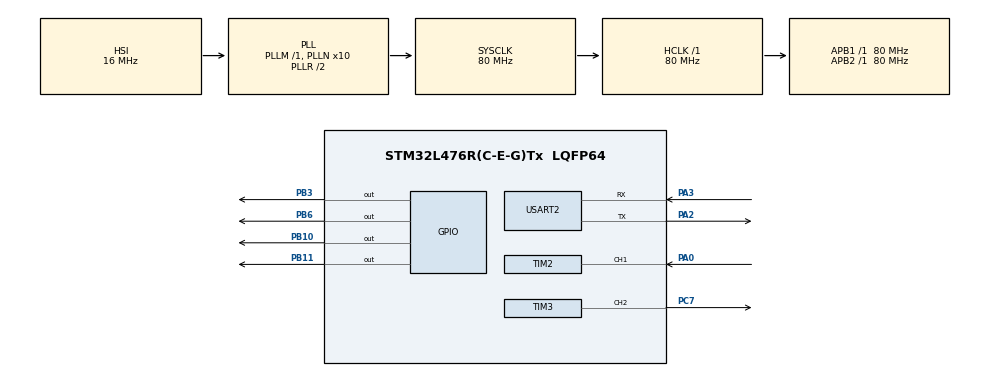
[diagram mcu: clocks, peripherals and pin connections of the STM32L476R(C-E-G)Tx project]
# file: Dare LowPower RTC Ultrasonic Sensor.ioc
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Mcu.Family=STM32L4
Mcu.Name=STM32L476R(C-E-G)Tx
Mcu.Package=LQFP64
NVIC.PriorityGroup=NVIC_PRIORITYGROUP_4
NVIC.RTC_WKUP_IRQn=true\:0\:0\:false\:false\:true\:true\:true\:true
NVIC.TIM2_IRQn=true\:0\:0\:false\:false\:true\:true\:true\:true
PA0.Signal=S_TIM2_CH1
PA2.Mode=Asynchronous
PA2.Signal=USART2_TX
PA3.Mode=Asynchronous
PA3.Signal=USART2_RX
PB10.Signal=GPIO_Output
PB11.Signal=GPIO_Output
PB3\ (JTDO-TRACESWO).Signal=GPIO_Output
PB6.Signal=GPIO_Output
PC7.Signal=S_TIM3_CH2
PH0-OSC_IN\ (PH0).Mode=HSE-External-Oscillator
PH0-OSC_IN\ (PH0).Signal=RCC_OSC_IN
PH1-OSC_OUT\ (PH1).Mode=HSE-External-Oscillator
PH1-OSC_OUT\ (PH1).Signal=RCC_OSC_OUT
ProjectManager.HeapSize=0x200
ProjectManager.StackSize=0x400
ProjectManager.TargetToolchain=STM32CubeIDE
RCC.ADCFreq_Value=64000000
RCC.AHBFreq_Value=80000000
RCC.APB1Freq_Value=80000000
RCC.APB1TimFreq_Value=80000000
RCC.APB2Freq_Value=80000000
RCC.APB2TimFreq_Value=80000000
RCC.CortexFreq_Value=80000000
RCC.HCLKFreq_Value=80000000
RCC.HSE_VALUE=8000000
RCC.HSI_VALUE=16000000
RCC.MSI_VALUE=4000000
RCC.PLLN=10
RCC.PLLSourceVirtual=RCC_PLLSOURCE_HSI
RCC.PREFETCH_ENABLE=1
RCC.SYSCLKFreq_VALUE=80000000
RCC.SYSCLKSource=RCC_SYSCLKSOURCE_PLLCLK
RCC.USBFreq_Value=64000000
RCC.VCOOutputFreq_Value=160000000
SH.S_TIM2_CH1.0=TIM2_CH1,Input_Capture1_from_TI1
SH.S_TIM3_CH2.0=TIM3_CH2,PWM Generation2 CH2
TIM2.Channel-Input_Capture1_from_TI1=TIM_CHANNEL_1
TIM3.Channel-PWM\ Generation2\ CH2=TIM_CHANNEL_2
TIM3.Prescaler=79
USART2.VirtualMode-Asynchronous=VM_ASYNC
VP_RTC_VS_RTC_Activate.Mode=RTC_Enabled
VP_RTC_VS_RTC_WakeUp_intern.Mode=WakeUp
VP_TIM2_VS_ClockSourceINT.Mode=Internal
VP_TIM3_VS_ClockSourceINT.Mode=Internal
VP_TIM6_VS_ClockSourceINT.Mode=Enable_Timer
board=NUCLEO-L476RG

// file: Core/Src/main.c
/* USER CODE BEGIN Header */
/**
 ******************************************************************************
 * @file           : main.c
 * @brief          : Main program body
 ******************************************************************************
 * @attention
 *
 * Copyright (c) 2026 STMicroelectronics.
 * All rights reserved.
 *
 * This software is licensed under terms that can be found in the LICENSE file
 * in the root directory of this software component.
 * If no LICENSE file comes with this software, it is provided AS-IS.
 *
 ******************************************************************************
 */
/* USER CODE END Header */
#include "main.h"

/* USER CODE BEGIN Includes */

#include <stdio.h>

/* USER CODE END Includes */

RTC_HandleTypeDef hrtc;

TIM_HandleTypeDef htim2;
TIM_HandleTypeDef htim3;
TIM_HandleTypeDef htim6;

UART_HandleTypeDef huart2;

/* USER CODE BEGIN PV */

uint8_t sleep_data[] = "I am going to sleep\n\r";

uint8_t wake_data[] = "I have just woken\n\r";

uint32_t IC_Value1 = 0;

uint32_t IC_Value2 = 0;

uint32_t time = 0;

float distance = 0;

float duty = 0;

volatile uint8_t measurementReady = 0;

volatile uint8_t firstEdgeCaptured = 0;

uint8_t motor_state = 0;

char msg[64];

uint32_t last_time = 0;

uint32_t now = 0;

uint32_t execution_time = 0;

/* USER CODE END PV */

void SystemClock_Config(void);
static void MX_GPIO_Init(void);
static void MX_USART2_UART_Init(void);
static void MX_RTC_Init(void);
static void MX_TIM2_Init(void);
static void MX_TIM3_Init(void);
static void MX_TIM6_Init(void);
/* USER CODE BEGIN PFP */

void Delay_us(uint16_t us);

/* USER CODE END PFP */

int main(void) {

	/* MCU Configuration--------------------------------------------------------*/

	/* Reset of all peripherals, Initializes the Flash interface and the Systick. */
	HAL_Init();

	/* Configure the system clock */
	SystemClock_Config();

	/* Initialize all configured peripherals */
	MX_GPIO_Init();
	MX_USART2_UART_Init();
	MX_RTC_Init();
	MX_TIM2_Init();
	MX_TIM3_Init();
	MX_TIM6_Init();
	/* USER CODE BEGIN 2 */

	HAL_RTCEx_DeactivateWakeUpTimer(&hrtc);

	HAL_RTCEx_SetWakeUpTimer_IT(&hrtc, 6000, RTC_WAKEUPCLOCK_RTCCLK_DIV16);

	/* USER CODE END 2 */

	/* Infinite loop */
	while (1) {

		/* USER CODE BEGIN 3 */

		HAL_UART_Transmit(&huart2, sleep_data, sizeof(sleep_data),
				HAL_MAX_DELAY);

		HAL_SuspendTick();

		HAL_PWR_EnterSTOPMode(PWR_LOWPOWERREGULATOR_ON, PWR_STOPENTRY_WFI);

		HAL_ResumeTick();

		SystemClock_Config();

//	  HAL_TIM_Base_Start(&htim6);

		last_time = HAL_GetTick();

		while (1) { // I greatly appreciate for this second while loop - simplifies things completely!

			HAL_UART_Transmit(&huart2, wake_data, sizeof(wake_data), HAL_MAX_DELAY);

			HAL_TIM_Base_Start(&htim6);

			HAL_TIM_IC_Start_IT(&htim2, TIM_CHANNEL_1);

			HAL_TIM_PWM_Start(&htim3, TIM_CHANNEL_2);

			HAL_GPIO_WritePin(GPIOB, GPIO_PIN_3, GPIO_PIN_RESET);
			Delay_us(2);

			HAL_GPIO_WritePin(GPIOB, GPIO_PIN_3, GPIO_PIN_SET);
			Delay_us(10);

			HAL_GPIO_WritePin(GPIOB, GPIO_PIN_3, GPIO_PIN_RESET);

			while (measurementReady == 0)
				;

			if (measurementReady) {

				measurementReady = 0;

				time = IC_Value2 - IC_Value1;

				distance = (time * 0.034) / 2;

				if (distance < 30) {

					int len = snprintf(msg, sizeof(msg),
							"The distance is : %.2f\n\r", distance);

					HAL_UART_Transmit(&huart2, (uint8_t*) msg, len,
							HAL_MAX_DELAY);

					motor_state = 1;

				}

				else {
					motor_state = 0;

				}

				if (motor_state) {

					duty = ((163 - (4.4 * distance)) * 999) / 163;

					__HAL_TIM_SET_COMPARE(&htim3, TIM_CHANNEL_2, duty);

					HAL_GPIO_WritePin(GPIOB, GPIO_PIN_10, GPIO_PIN_SET);

					HAL_GPIO_WritePin(GPIOB, GPIO_PIN_11, GPIO_PIN_RESET);
				}

				else {
					HAL_GPIO_WritePin(GPIOB, GPIO_PIN_10, GPIO_PIN_RESET);

					HAL_GPIO_WritePin(GPIOB, GPIO_PIN_11, GPIO_PIN_RESET);

					break; //Leave the active loop
				}
			}

		}

		now = HAL_GetTick();

		execution_time = now - last_time;

		char msg[64];

		int len = snprintf(msg, sizeof(msg), "Execution time is : %lu\n\r", execution_time);

		HAL_UART_Transmit(&huart2, (uint8_t *)msg, len, HAL_MAX_DELAY);

	}
	/* USER CODE END 3 */
}

void SystemClock_Config(void) {
	RCC_OscInitTypeDef RCC_OscInitStruct = { 0 };
	RCC_ClkInitTypeDef RCC_ClkInitStruct = { 0 };

	/** Configure the main internal regulator output voltage
	 */
	if (HAL_PWREx_ControlVoltageScaling(PWR_REGULATOR_VOLTAGE_SCALE1)
			!= HAL_OK) {
		Error_Handler();
	}

	/** Initializes the RCC Oscillators according to the specified parameters
	 * in the RCC_OscInitTypeDef structure.
	 */
	RCC_OscInitStruct.OscillatorType = RCC_OSCILLATORTYPE_HSI
			| RCC_OSCILLATORTYPE_LSI;
	RCC_OscInitStruct.HSIState = RCC_HSI_ON;
	RCC_OscInitStruct.HSICalibrationValue = RCC_HSICALIBRATION_DEFAULT;
	RCC_OscInitStruct.LSIState = RCC_LSI_ON;
	RCC_OscInitStruct.PLL.PLLState = RCC_PLL_ON;
	RCC_OscInitStruct.PLL.PLLSource = RCC_PLLSOURCE_HSI;
	RCC_OscInitStruct.PLL.PLLM = 1;
	RCC_OscInitStruct.PLL.PLLN = 10;
	RCC_OscInitStruct.PLL.PLLP = RCC_PLLP_DIV7;
	RCC_OscInitStruct.PLL.PLLQ = RCC_PLLQ_DIV2;
	RCC_OscInitStruct.PLL.PLLR = RCC_PLLR_DIV2;
	if (HAL_RCC_OscConfig(&RCC_OscInitStruct) != HAL_OK) {
		Error_Handler();
	}

	/** Initializes the CPU, AHB and APB buses clocks
	 */
	RCC_ClkInitStruct.ClockType = RCC_CLOCKTYPE_HCLK | RCC_CLOCKTYPE_SYSCLK
			| RCC_CLOCKTYPE_PCLK1 | RCC_CLOCKTYPE_PCLK2;
	RCC_ClkInitStruct.SYSCLKSource = RCC_SYSCLKSOURCE_PLLCLK;
	RCC_ClkInitStruct.AHBCLKDivider = RCC_SYSCLK_DIV1;
	RCC_ClkInitStruct.APB1CLKDivider = RCC_HCLK_DIV1;
	RCC_ClkInitStruct.APB2CLKDivider = RCC_HCLK_DIV1;

	if (HAL_RCC_ClockConfig(&RCC_ClkInitStruct, FLASH_LATENCY_4) != HAL_OK) {
		Error_Handler();
	}
}

static void MX_RTC_Init(void) {

	/** Initialize RTC Only
	 */
	hrtc.Instance = RTC;
	hrtc.Init.HourFormat = RTC_HOURFORMAT_24;
	hrtc.Init.AsynchPrediv = 127;
	hrtc.Init.SynchPrediv = 255;
	hrtc.Init.OutPut = RTC_OUTPUT_DISABLE;
	hrtc.Init.OutPutRemap = RTC_OUTPUT_REMAP_NONE;
	hrtc.Init.OutPutPolarity = RTC_OUTPUT_POLARITY_HIGH;
	hrtc.Init.OutPutType = RTC_OUTPUT_TYPE_OPENDRAIN;
	if (HAL_RTC_Init(&hrtc) != HAL_OK) {
		Error_Handler();
	}

}

static void MX_TIM2_Init(void) {

	TIM_ClockConfigTypeDef sClockSourceConfig = { 0 };
	TIM_MasterConfigTypeDef sMasterConfig = { 0 };
	TIM_IC_InitTypeDef sConfigIC = { 0 };

	htim2.Instance = TIM2;
	htim2.Init.Prescaler = 79;
	htim2.Init.CounterMode = TIM_COUNTERMODE_UP;
	htim2.Init.Period = 4294967295;
	htim2.Init.ClockDivision = TIM_CLOCKDIVISION_DIV1;
	htim2.Init.AutoReloadPreload = TIM_AUTORELOAD_PRELOAD_DISABLE;
	if (HAL_TIM_Base_Init(&htim2) != HAL_OK) {
		Error_Handler();
	}
	sClockSourceConfig.ClockSource = TIM_CLOCKSOURCE_INTERNAL;
	if (HAL_TIM_ConfigClockSource(&htim2, &sClockSourceConfig) != HAL_OK) {
		Error_Handler();
	}
	if (HAL_TIM_IC_Init(&htim2) != HAL_OK) {
		Error_Handler();
	}
	sMasterConfig.MasterOutputTrigger = TIM_TRGO_RESET;
	sMasterConfig.MasterSlaveMode = TIM_MASTERSLAVEMODE_DISABLE;
	if (HAL_TIMEx_MasterConfigSynchronization(&htim2, &sMasterConfig)
			!= HAL_OK) {
		Error_Handler();
	}
	sConfigIC.ICPolarity = TIM_INPUTCHANNELPOLARITY_RISING;
	sConfigIC.ICSelection = TIM_ICSELECTION_DIRECTTI;
	sConfigIC.ICPrescaler = TIM_ICPSC_DIV1;
	sConfigIC.ICFilter = 0;
	if (HAL_TIM_IC_ConfigChannel(&htim2, &sConfigIC, TIM_CHANNEL_1) != HAL_OK) {
		Error_Handler();
	}

}

static void MX_TIM3_Init(void) {

	TIM_ClockConfigTypeDef sClockSourceConfig = { 0 };
	TIM_MasterConfigTypeDef sMasterConfig = { 0 };
	TIM_OC_InitTypeDef sConfigOC = { 0 };

	htim3.Instance = TIM3;
	htim3.Init.Prescaler = 79;
	htim3.Init.CounterMode = TIM_COUNTERMODE_UP;
	htim3.Init.Period = 999;
	htim3.Init.ClockDivision = TIM_CLOCKDIVISION_DIV1;
	htim3.Init.AutoReloadPreload = TIM_AUTORELOAD_PRELOAD_DISABLE;
	if (HAL_TIM_Base_Init(&htim3) != HAL_OK) {
		Error_Handler();
	}
	sClockSourceConfig.ClockSource = TIM_CLOCKSOURCE_INTERNAL;
	if (HAL_TIM_ConfigClockSource(&htim3, &sClockSourceConfig) != HAL_OK) {
		Error_Handler();
	}
	if (HAL_TIM_PWM_Init(&htim3) != HAL_OK) {
		Error_Handler();
	}
	sMasterConfig.MasterOutputTrigger = TIM_TRGO_RESET;
	sMasterConfig.MasterSlaveMode = TIM_MASTERSLAVEMODE_DISABLE;
	if (HAL_TIMEx_MasterConfigSynchronization(&htim3, &sMasterConfig)
			!= HAL_OK) {
		Error_Handler();
	}
	sConfigOC.OCMode = TIM_OCMODE_PWM1;
	sConfigOC.Pulse = 0;
	sConfigOC.OCPolarity = TIM_OCPOLARITY_HIGH;
	sConfigOC.OCFastMode = TIM_OCFAST_DISABLE;
	if (HAL_TIM_PWM_ConfigChannel(&htim3, &sConfigOC, TIM_CHANNEL_2)
			!= HAL_OK) {
		Error_Handler();
	}
	HAL_TIM_MspPostInit(&htim3);

}

static void MX_TIM6_Init(void) {

	TIM_MasterConfigTypeDef sMasterConfig = { 0 };

	htim6.Instance = TIM6;
	htim6.Init.Prescaler = 79;
	htim6.Init.CounterMode = TIM_COUNTERMODE_UP;
	htim6.Init.Period = 65535;
	htim6.Init.AutoReloadPreload = TIM_AUTORELOAD_PRELOAD_DISABLE;
	if (HAL_TIM_Base_Init(&htim6) != HAL_OK) {
		Error_Handler();
	}
	sMasterConfig.MasterOutputTrigger = TIM_TRGO_RESET;
	sMasterConfig.MasterSlaveMode = TIM_MASTERSLAVEMODE_DISABLE;
	if (HAL_TIMEx_MasterConfigSynchronization(&htim6, &sMasterConfig)
			!= HAL_OK) {
		Error_Handler();
	}

}

static void MX_USART2_UART_Init(void) {

	huart2.Instance = USART2;
	huart2.Init.BaudRate = 115200;
	huart2.Init.WordLength = UART_WORDLENGTH_8B;
	huart2.Init.StopBits = UART_STOPBITS_1;
	huart2.Init.Parity = UART_PARITY_NONE;
	huart2.Init.Mode = UART_MODE_TX_RX;
	huart2.Init.HwFlowCtl = UART_HWCONTROL_NONE;
	huart2.Init.OverSampling = UART_OVERSAMPLING_16;
	huart2.Init.OneBitSampling = UART_ONE_BIT_SAMPLE_DISABLE;
	huart2.AdvancedInit.AdvFeatureInit = UART_ADVFEATURE_NO_INIT;
	if (HAL_UART_Init(&huart2) != HAL_OK) {
		Error_Handler();
	}

}

static void MX_GPIO_Init(void) {
	GPIO_InitTypeDef GPIO_InitStruct = { 0 };

	/* GPIO Ports Clock Enable */
	__HAL_RCC_GPIOH_CLK_ENABLE();
	__HAL_RCC_GPIOA_CLK_ENABLE();
	__HAL_RCC_GPIOB_CLK_ENABLE();
	__HAL_RCC_GPIOC_CLK_ENABLE();

	/*Configure GPIO pin Output Level */
	HAL_GPIO_WritePin(GPIOB,
			GPIO_PIN_10 | GPIO_PIN_11 | GPIO_PIN_3 | GPIO_PIN_6,
			GPIO_PIN_RESET);

	/*Configure GPIO pins : PB10 PB11 PB3 PB6 */
	GPIO_InitStruct.Pin = GPIO_PIN_10 | GPIO_PIN_11 | GPIO_PIN_3 | GPIO_PIN_6;
	GPIO_InitStruct.Mode = GPIO_MODE_OUTPUT_PP;
	GPIO_InitStruct.Pull = GPIO_NOPULL;
	GPIO_InitStruct.Speed = GPIO_SPEED_FREQ_LOW;
	HAL_GPIO_Init(GPIOB, &GPIO_InitStruct);

}

/* USER CODE BEGIN 4 */

void HAL_TIM_IC_CaptureCallback(TIM_HandleTypeDef *htim) {
	/* Prevent unused argument(s) compilation warning */
	UNUSED(htim);

	/* NOTE : This function should not be modified, when the callback is needed,
	 the HAL_TIM_IC_CaptureCallback could be implemented in the user file
	 */
	if (htim->Instance == TIM2 && htim->Channel == HAL_TIM_ACTIVE_CHANNEL_1) {

		if (firstEdgeCaptured) {
			IC_Value2 = HAL_TIM_ReadCapturedValue(&htim2, TIM_CHANNEL_1);
			firstEdgeCaptured = 0;
			measurementReady = 1;
			__HAL_TIM_SET_CAPTUREPOLARITY(&htim2, TIM_CHANNEL_1,
					TIM_INPUTCHANNELPOLARITY_RISING);

		}

		else {
			IC_Value1 = HAL_TIM_ReadCapturedValue(&htim2, TIM_CHANNEL_1);
			firstEdgeCaptured = 1;
			__HAL_TIM_SET_CAPTUREPOLARITY(&htim2, TIM_CHANNEL_1,
					TIM_INPUTCHANNELPOLARITY_FALLING);

		}

	}
}

void Delay_us(uint16_t us) {
	__HAL_TIM_SET_COUNTER(&htim6, 0);
	while (__HAL_TIM_GET_COUNTER(&htim6) < us)
		;
}

void HAL_RTCEx_WakeUpTimerEventCallback(RTC_HandleTypeDef *hrtc) {

	HAL_GPIO_TogglePin(GPIOB, GPIO_PIN_6);

}
/* USER CODE END 4 */

void Error_Handler(void) {
	__disable_irq();
	while (1) {
	}
}
